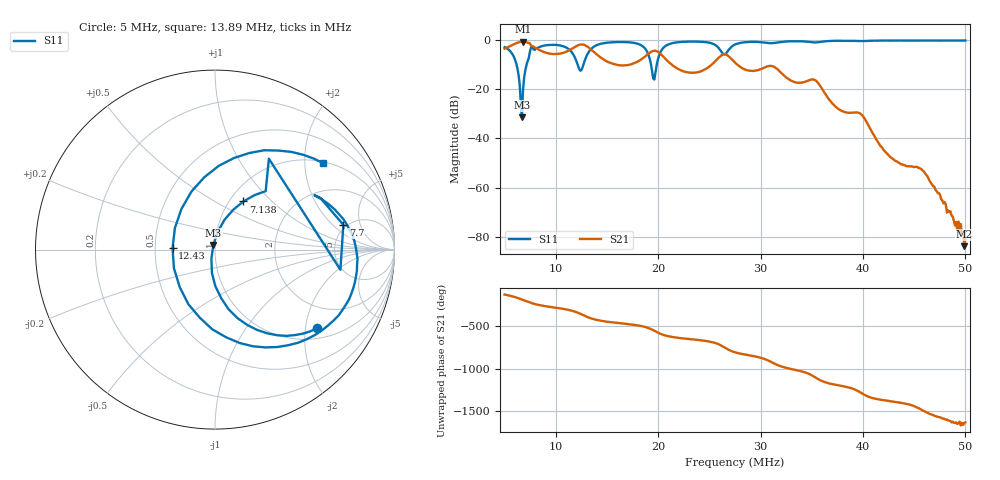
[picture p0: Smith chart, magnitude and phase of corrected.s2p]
! S11/S21 only; reverse parameters are placeholders. Device calibration unverified.
! [Saver CAL applied] C:\Users\aknya\MyProjects\rf-simulator\calibration2.cal | Ideal standards assumed | Input: NanoVNA F V2 profile | COM3 | 2026-09-08T11:40:42.4930290-04:00 | device calibration unverified
# HZ S RI R 50
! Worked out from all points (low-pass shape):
!   401 points, 5 MHz to 50 MHz, reference 50 ohm
!   highest |S21| = -0.65 dB at 6.8 MHz (marker M1); lowest = -83.9 dB at 49.89 MHz (marker M2)
!   |S21| within 3 dB of the highest: start of sweep to 8.232 MHz; 11.52 MHz to 13.39 MHz (1.869 MHz wide, 15 % of centre)
!   lowest |S11| = -31.4 dB at 6.688 MHz (marker M3), VSWR 1.06, Z = 49 + j2.46 ohm
!   |S11| at or under -10 dB: 6.165 MHz to 7.148 MHz (982.6 kHz wide, 14.8 % of centre); 12.13 MHz to 12.7 MHz (563.1 kHz wide, 4.54 % of centre); 19.3 MHz to 19.86 MHz (559.6 kHz wide, 2.86 % of centre)
!   S12 and S22 are empty: the file has one direction only
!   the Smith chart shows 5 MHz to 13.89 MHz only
!   S11 on the Smith chart (normalised r, x): 5 MHz: 1.28, -2.31; 7.138 MHz: 1.16, +0.69; 7.7 MHz: 4.69, +2.75; 12.43 MHz: 0.62, +0.01; 13.89 MHz: 1.04, +2.45
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5000000  0.5668 -0.439  -0.3909 -0.5453  0 0  0 0
6687500  -0.00948 0.0251  -0.9245 0.0715  0 0  0 0
6800000  0.0145 0.0981  -0.9149 0.1546  0 0  0 0
7137500  0.1578 0.268  -0.8214 0.3784  0 0  0 0
7700000  0.715 0.1378  -0.4914 0.5664  0 0  0 0
1.13e7  0.347 -0.5427  0.3884 0.4824  0 0  0 0
1.2425e7  -0.2366 0.00904  0.8086 0.0712  0 0  0 0
1.25375e7  -0.2233 0.1204  0.8136 -0.018  0 0  0 0
1.38875e7  0.5994 0.4828  0.2493 -0.4719  0 0  0 0
1.6475e7  0.8966 -0.17  -0.0893 -0.2914  0 0  0 0
1.86125e7  0.3739 -0.6053  -0.3667 -0.252  0 0  0 0
1.95125e7  -0.1576 -0.0492  -0.5977 0.071  0 0  0 0
2.0075e7  0.2141 0.4282  -0.4158 0.3722  0 0  0 0
2.17625e7  0.8924 0.0775  0.0212 0.2713  0 0  0 0
2.615e7  0.4661 -0.3597  0.4793 -0.0668  0 0  0 0
2.75e7  0.7949 -0.1746  0.0107 -0.3485  0 0  0 0
3.16625e7  0.7536 -0.483  -0.1305 0.2173  0 0  0 0
3.50375e7  0.6342 -0.643  0.1585 -0.0077  0 0  0 0
4.2575e7  0.4414 -0.8729  0.0025 0.00357  0 0  0 0
4.595e7  0.3107 -0.9302  0.000951 -0.00189  0 0  0 0
4.98875e7  0.1615 -0.966  -5.89e-05 2.51e-05  0 0  0 0
5e7  0.1572 -0.9676  -8.72e-05 2.57e-05  0 0  0 0
